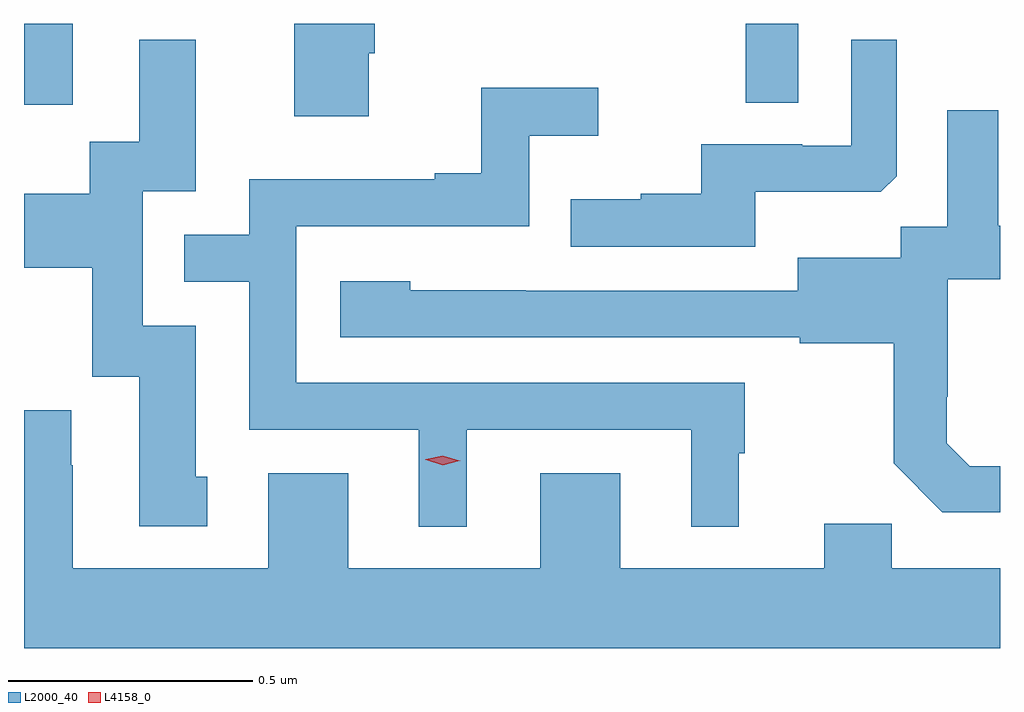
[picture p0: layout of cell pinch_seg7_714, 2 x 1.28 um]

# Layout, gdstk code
import gdstk
lib = gdstk.Library(unit=1e-6, precision=1e-09)
def R(c, l, rs):  # rectangles x0, y0, x1, y1
    for r in rs: c.add(gdstk.rectangle(r[:2], r[2:], *l))
def P(c, l, *ps):  # polygons
    for p in ps: c.add(gdstk.Polygon(p, *l))
L2000_40 = (2000, 40)
L4158_0 = (4158, 0)

pinch_seg7_714 = lib.new_cell('pinch_seg7_714')
R(pinch_seg7_714, L2000_40, [(197.715,1013.718,197.815,1013.884), (199.194,1013.722,199.302,1013.884)])
P(pinch_seg7_714, L2000_40, [(198.421,1013.823),(198.434,1013.823),(198.434,1013.884),(198.269,1013.884),(198.269,1013.694),(198.421,1013.694)],
  [(198.091,1012.956),(198.067,1012.956),(198.067,1013.265),(197.958,1013.265),(197.958,1013.541),(198.067,1013.541),(198.067,1013.851),(197.951,1013.851),(197.951,1013.642),(197.85,1013.642),(197.85,1013.536),(197.715,1013.536),(197.715,1013.384),(197.855,1013.384),(197.855,1013.16),(197.951,1013.16),(197.951,1012.854),(198.091,1012.854)],
  [(199.213,1013.54),(199.471,1013.54),(199.503,1013.571),(199.503,1013.851),(199.41,1013.851),(199.41,1013.634),(199.31,1013.634),(199.31,1013.637),(199.103,1013.637),(199.103,1013.536),(198.979,1013.536),(198.979,1013.524),(198.835,1013.524),(198.835,1013.427),(199.213,1013.427)],
  [(198.622,1013.052),(199.082,1013.052),(199.082,1012.853),(199.18,1012.853),(199.18,1013.004),(199.192,1013.004),(199.192,1013.148),(198.273,1013.148),(198.273,1013.469),(198.75,1013.469),(198.75,1013.654),(198.892,1013.654),(198.892,1013.753),(198.652,1013.753),(198.652,1013.578),(198.557,1013.578),(198.557,1013.565),(198.177,1013.565),(198.177,1013.451),(198.043,1013.451),(198.043,1013.355),(198.177,1013.355),(198.177,1013.052),(198.524,1013.052),(198.524,1012.853),(198.622,1012.853)],
  [(199.715,1012.977),(199.653,1012.977),(199.606,1013.024),(199.606,1013.119),(199.608,1013.119),(199.608,1013.36),(199.715,1013.36),(199.715,1013.47),(199.711,1013.47),(199.711,1013.707),(199.607,1013.707),(199.607,1013.468),(199.512,1013.468),(199.512,1013.404),(199.301,1013.404),(199.301,1013.337),(198.743,1013.337),(198.743,1013.338),(198.507,1013.338),(198.507,1013.356),(198.363,1013.356),(198.363,1013.241),(199.305,1013.241),(199.305,1013.229),(199.497,1013.229),(199.497,1012.983),(199.597,1012.883),(199.715,1012.883)],
  [(199.715,1012.768),(199.493,1012.768),(199.493,1012.859),(199.355,1012.859),(199.355,1012.768),(198.937,1012.768),(198.937,1012.963),(198.773,1012.963),(198.773,1012.768),(198.379,1012.768),(198.379,1012.963),(198.215,1012.963),(198.215,1012.768),(197.815,1012.768),(197.815,1012.979),(197.812,1012.979),(197.812,1013.092),(197.715,1013.092),(197.715,1012.604),(199.715,1012.604)])
P(pinch_seg7_714, L4158_0, [(198.573,1012.979),(198.538,1012.99),(198.537,1012.99),(198.538,1012.991),(198.573,1012.999),(198.608,1012.988),(198.609,1012.988),(198.608,1012.988)])

lib.write_gds('pinch_seg7_714.gds')
